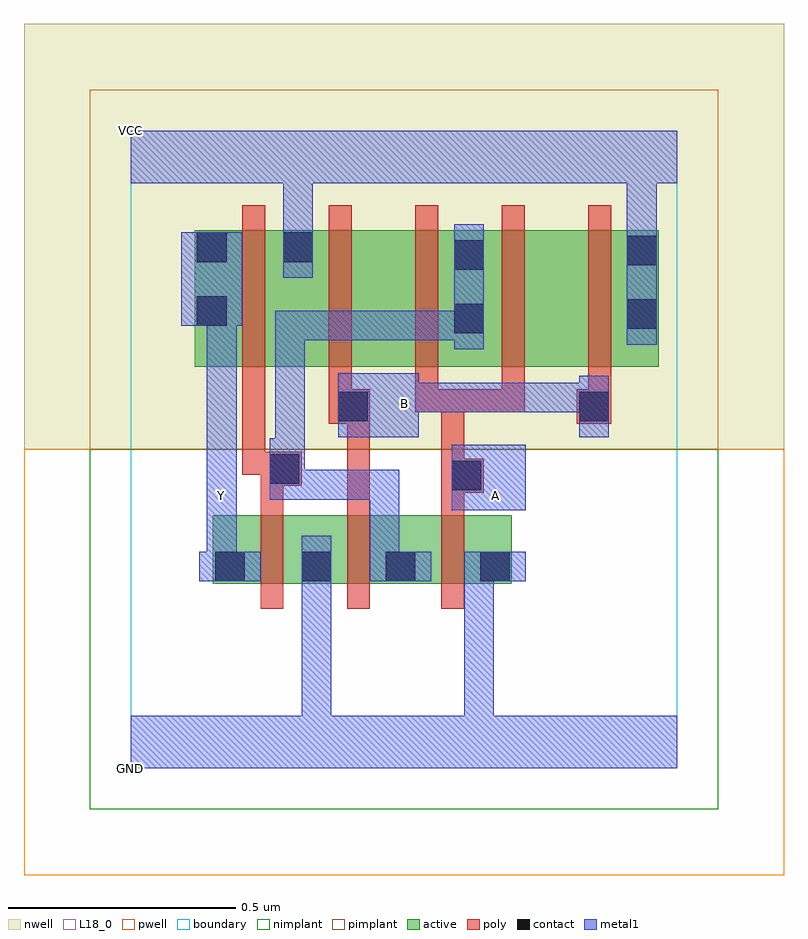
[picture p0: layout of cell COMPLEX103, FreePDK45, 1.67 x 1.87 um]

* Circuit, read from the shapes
.subckt COMPLEX103 A B GND VCC Y
M1 GND n1 Y VSUBS nfet w=0.15u l=0.05u
M2 n1 B GND VSUBS nfet w=0.15u l=0.05u
M3 GND A n1 VSUBS nfet w=0.15u l=0.05u
M4 VCC n1 Y n2 pfet w=0.3u l=0.05u
M5 n3 B VCC n2 pfet w=0.3u l=0.05u
M6 n1 A n3 n2 pfet w=0.3u l=0.05u
M7 n4 A n1 n2 pfet w=0.3u l=0.05u
M8 VCC B n4 n2 pfet w=0.3u l=0.05u
.ends

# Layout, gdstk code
import gdstk
lib = gdstk.Library(unit=1e-6, precision=1e-09)
def R(c, l, rs):  # rectangles x0, y0, x1, y1
    for r in rs: c.add(gdstk.rectangle(r[:2], r[2:], *l))
def A(c, l, x, y, w, h, nx, ny, dx, dy):  # array of equal rectangles
    R(c, l, [(x+i*dx, y+j*dy, x+i*dx+w, y+j*dy+h) for i in range(nx) for j in range(ny)])
active = (1, 0)
pwell = (2, 0)
nwell = (3, 0)
nimplant = (4, 0)
pimplant = (5, 0)
poly = (9, 0)
contact = (10, 0)
metal1 = (11, 0)
L18_0 = (18, 0)
boundary = (235, 0)

complex103 = lib.new_cell('COMPLEX103')
R(complex103, active, [(0.18,0.405,0.255,0.555), (0.18,0.405,0.445,0.555), (0.37,0.405,0.63,0.555), (0.37,0.405,0.445,0.542), (0.555,0.405,0.837,0.555), (0.555,0.405,0.63,0.48), (0.762,0.405,0.837,0.555), (0.14,0.882,0.215,1.182), (0.14,0.882,0.405,1.182), (0.33,0.882,0.555,1.182), (0.555,0.882,0.78,1.182), (0.705,0.882,0.935,1.182), (0.705,0.882,0.78,1.165), (0.935,0.882,1.16,1.182), (1.085,0.882,1.16,1.182), (0.33,1.007,0.405,1.182)])
R(complex103, pwell, [(-0.235,-0.235,1.435,0.7)])
R(complex103, nwell, [(-0.235,0.7,1.435,1.635)])
R(complex103, nimplant, [(-0.09,-0.09,1.29,0.7)])
R(complex103, pimplant, [(-0.09,0.7,1.29,1.49)])
A(complex103, poly, 0.435, 0.782, 0.05, 0.095, 4, 1, 0.19, 0)
A(complex103, poly, 0.245, 0.827, 0.05, 0.41, 5, 1, 0.19, 0)
R(complex103, poly, [(0.285,0.35,0.335,0.61), (0.475,0.35,0.525,0.61), (0.682,0.35,0.732,0.61), (0.285,0.56,0.335,0.67), (0.475,0.56,0.525,0.807), (0.682,0.56,0.732,0.655), (0.682,0.605,0.775,0.68), (0.285,0.62,0.375,0.695), (0.682,0.63,0.732,0.832), (0.245,0.645,0.295,0.877), (0.245,0.645,0.335,0.695), (0.285,0.645,0.335,0.695), (0.435,0.757,0.525,0.832), (0.475,0.757,0.525,0.807), (0.475,0.757,0.525,0.807), (0.98,0.757,1.055,0.832), (0.625,0.782,0.732,0.832), (0.682,0.782,0.865,0.832), (0.682,0.782,0.732,0.832), (0.682,0.782,0.732,0.832), (0.815,0.782,0.865,0.832)])
R(complex103, contact, [(0.185,0.41,0.25,0.475), (0.375,0.41,0.44,0.475), (0.56,0.41,0.625,0.475), (0.767,0.41,0.832,0.475), (0.705,0.61,0.77,0.675), (0.305,0.625,0.37,0.69), (0.455,0.762,0.52,0.827), (0.985,0.762,1.05,0.827), (0.71,0.955,0.775,1.02), (1.09,0.965,1.155,1.03), (0.145,0.972,0.21,1.037), (0.71,1.095,0.775,1.16), (1.09,1.105,1.155,1.17), (0.145,1.112,0.21,1.177), (0.335,1.112,0.4,1.177)])
R(complex103, metal1, [(0,0,1.2,0.115), (0.375,0.05,0.44,0.115), (0.375,0.05,0.44,0.115), (0.375,0.05,0.44,0.44), (0.732,0.05,0.797,0.475), (0.375,0.375,0.44,0.44), (0.375,0.375,0.44,0.44), (0.375,0.375,0.44,0.51), (0.15,0.41,0.285,0.475), (0.167,0.41,0.232,0.597), (0.525,0.41,0.66,0.475), (0.525,0.41,0.59,0.655), (0.732,0.41,0.797,0.475), (0.732,0.41,0.797,0.475), (0.732,0.41,0.797,0.475), (0.732,0.41,0.797,0.475), (0.732,0.41,0.867,0.475), (0.167,0.532,0.232,0.667), (0.705,0.567,0.867,0.71), (0.305,0.59,0.37,0.725), (0.305,0.59,0.382,0.655), (0.317,0.59,0.382,0.655), (0.317,0.59,0.382,0.655), (0.317,0.59,0.382,0.655), (0.317,0.59,0.59,0.655), (0.317,0.59,0.382,1.005), (0.525,0.59,0.59,0.655), (0.525,0.59,0.59,0.655), (0.525,0.59,0.59,0.655), (0.167,0.602,0.232,0.667), (0.167,0.602,0.232,0.667), (0.167,0.602,0.232,1.037), (0.455,0.727,0.632,0.867), (0.985,0.727,1.05,0.862), (0.567,0.782,0.632,0.847), (0.567,0.782,0.632,0.847), (0.567,0.782,0.77,0.847), (0.705,0.782,0.77,0.847), (0.705,0.782,0.77,0.847), (0.705,0.782,0.77,0.847), (0.705,0.782,0.912,0.847), (0.847,0.782,0.912,0.847), (0.847,0.782,0.912,0.847), (0.847,0.782,0.912,0.847), (0.847,0.782,1.05,0.847), (0.71,0.92,0.775,1.195), (1.09,0.93,1.155,1.205), (0.317,0.94,0.382,1.005), (0.317,0.94,0.52,1.005), (0.455,0.94,0.52,1.005), (0.455,0.94,0.52,1.005), (0.455,0.94,0.52,1.005), (0.455,0.94,0.775,1.005), (0.71,0.94,0.775,1.005), (0.71,0.94,0.775,1.005), (0.11,0.972,0.245,1.177), (0.335,1.077,0.4,1.212), (1.09,1.14,1.155,1.205), (1.09,1.14,1.155,1.205), (1.09,1.14,1.155,1.35), (0.335,1.147,0.4,1.212), (0.335,1.147,0.4,1.212), (0.335,1.147,0.4,1.35), (0,1.285,1.2,1.4)])
R(complex103, L18_0, [(0,0,1.2,0.115), (0.375,0.05,0.44,0.115), (0.375,0.05,0.44,0.115), (0.375,0.05,0.44,0.44), (0.732,0.05,0.797,0.475), (0.375,0.375,0.44,0.51), (0.375,0.375,0.44,0.44), (0.375,0.375,0.44,0.44), (0.15,0.41,0.285,0.475), (0.167,0.41,0.232,0.597), (0.732,0.41,0.867,0.475), (0.732,0.41,0.797,0.475), (0.732,0.41,0.797,0.475), (0.732,0.41,0.797,0.475), (0.732,0.41,0.797,0.475), (0.167,0.532,0.232,0.667), (0.167,0.567,0.232,0.632), (0.705,0.567,0.867,0.71), (0.767,0.567,0.832,0.632), (0.167,0.602,0.232,0.667), (0.167,0.602,0.232,0.667), (0.167,0.602,0.232,1.037), (0.455,0.727,0.632,0.867), (0.985,0.727,1.05,0.862), (0.567,0.767,0.632,0.832), (0.567,0.782,0.632,0.847), (0.567,0.782,0.632,0.847), (0.567,0.782,0.77,0.847), (0.705,0.782,0.77,0.847), (0.705,0.782,0.77,0.847), (0.705,0.782,0.77,0.847), (0.705,0.782,0.912,0.847), (0.847,0.782,0.912,0.847), (0.847,0.782,0.912,0.847), (0.847,0.782,0.912,0.847), (0.847,0.782,1.05,0.847), (1.09,0.93,1.155,1.205), (0.11,0.972,0.245,1.177), (0.335,1.077,0.4,1.212), (1.09,1.14,1.155,1.205), (1.09,1.14,1.155,1.205), (1.09,1.14,1.155,1.35), (0.335,1.147,0.4,1.212), (0.335,1.147,0.4,1.212), (0.335,1.147,0.4,1.35), (0,1.285,1.2,1.4)])
R(complex103, boundary, [(0,0,1.2,1.4)])
complex103.add(gdstk.Label('A', (0.8,0.6), layer=11, texttype=0))
complex103.add(gdstk.Label('B', (0.6,0.8), layer=11, texttype=0))
complex103.add(gdstk.Label('Y', (0.2,0.6), layer=11, texttype=0))
complex103.add(gdstk.Label('VCC', (0,1.4), layer=11, texttype=0))
complex103.add(gdstk.Label('GND', (0,0), layer=11, texttype=0))

lib.write_gds('COMPLEX103.gds')
